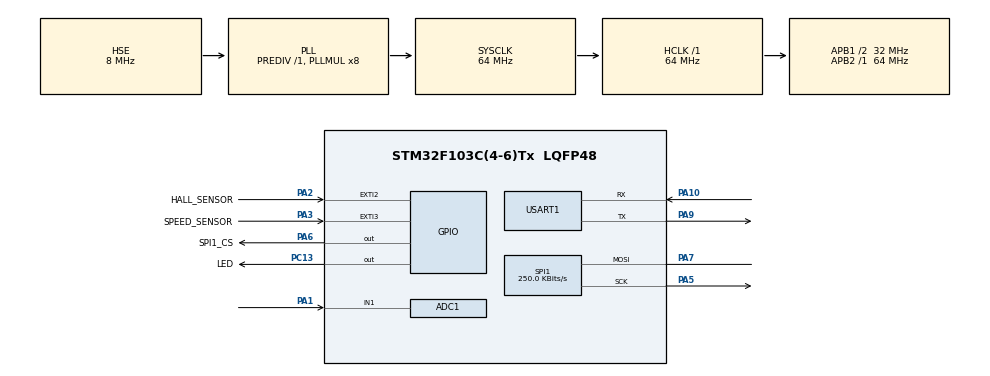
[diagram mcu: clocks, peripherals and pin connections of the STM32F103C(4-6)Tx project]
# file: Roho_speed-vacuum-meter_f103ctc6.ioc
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ADC1.Channel-0\#ChannelRegularConversion=ADC_CHANNEL_1
ADC1.NbrOfConversionFlag=1
ADC1.Rank-0\#ChannelRegularConversion=1
ADC1.SamplingTime-0\#ChannelRegularConversion=ADC_SAMPLETIME_1CYCLE_5
ADC1.master=1
Mcu.Family=STM32F1
Mcu.Name=STM32F103C(4-6)Tx
Mcu.Package=LQFP48
NVIC.EXTI2_IRQn=true\:0\:0\:false\:false\:true\:true\:true\:true
NVIC.EXTI3_IRQn=true\:0\:0\:false\:false\:true\:true\:true\:true
NVIC.PriorityGroup=NVIC_PRIORITYGROUP_4
NVIC.TIM3_IRQn=true\:0\:0\:false\:false\:true\:true\:true\:true
PA1.Signal=ADCx_IN1
PA10.Mode=Asynchronous
PA10.Signal=USART1_RX
PA13.Mode=Serial_Wire
PA13.Signal=SYS_JTMS-SWDIO
PA14.Mode=Serial_Wire
PA14.Signal=SYS_JTCK-SWCLK
PA2.GPIO_Label=HALL_SENSOR
PA2.GPIO_ModeDefaultEXTI=GPIO_MODE_IT_FALLING
PA2.GPIO_PuPd=GPIO_PULLUP
PA2.Signal=GPXTI2
PA3.GPIO_Label=SPEED_SENSOR
PA3.GPIO_ModeDefaultEXTI=GPIO_MODE_IT_FALLING
PA3.GPIO_PuPd=GPIO_PULLUP
PA3.Signal=GPXTI3
PA5.Mode=Simplex_Bidirectional_Master
PA5.Signal=SPI1_SCK
PA6.GPIO_Label=SPI1_CS
PA6.Signal=GPIO_Output
PA7.Mode=Simplex_Bidirectional_Master
PA7.Signal=SPI1_MOSI
PA9.Mode=Asynchronous
PA9.Signal=USART1_TX
PC13-TAMPER-RTC.GPIO_Label=LED
PC13-TAMPER-RTC.Signal=GPIO_Output
PD0-OSC_IN.Mode=HSE-External-Oscillator
PD0-OSC_IN.Signal=RCC_OSC_IN
PD1-OSC_OUT.Mode=HSE-External-Oscillator
PD1-OSC_OUT.Signal=RCC_OSC_OUT
ProjectManager.HeapSize=0x200
ProjectManager.StackSize=0x400
ProjectManager.TargetToolchain=STM32CubeIDE
RCC.ADCPresc=RCC_ADCPCLK2_DIV6
RCC.AHBFreq_Value=64000000
RCC.APB1CLKDivider=RCC_HCLK_DIV2
RCC.APB1Freq_Value=32000000
RCC.APB1TimFreq_Value=64000000
RCC.APB2Freq_Value=64000000
RCC.APB2TimFreq_Value=64000000
RCC.HCLKFreq_Value=64000000
RCC.PLLMUL=RCC_PLL_MUL8
RCC.PLLSourceVirtual=RCC_PLLSOURCE_HSE
RCC.SYSCLKFreq_VALUE=64000000
RCC.SYSCLKSource=RCC_SYSCLKSOURCE_PLLCLK
RCC.USBFreq_Value=64000000
SH.ADCx_IN1.0=ADC1_IN1,IN1
SPI1.BaudRatePrescaler=SPI_BAUDRATEPRESCALER_256
SPI1.CalculateBaudRate=250.0 KBits/s
SPI1.Direction=SPI_DIRECTION_1LINE
SPI1.Mode=SPI_MODE_MASTER
SPI1.VirtualType=VM_MASTER
TIM3.Period=1000-1
TIM3.Prescaler=64000-1
USART1.VirtualMode=VM_ASYNC
VP_TIM3_VS_ClockSourceINT.Mode=Internal
board=custom

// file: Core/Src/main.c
/* USER CODE BEGIN Header */
/**
  ******************************************************************************
  * @file           : main.c
  * @brief          : Main program body
  ******************************************************************************
  * @attention
  *
  * Copyright (c) 2022 STMicroelectronics.
  * All rights reserved.
  *
  * This software is licensed under terms that can be found in the LICENSE file
  * in the root directory of this software component.
  * If no LICENSE file comes with this software, it is provided AS-IS.
  *
  ******************************************************************************
  */
/* USER CODE END Header */
#include "main.h"
#include "adc.h"
#include "spi.h"
#include "tim.h"
#include "usart.h"
#include "gpio.h"

/* USER CODE BEGIN Includes */

	#include <stdio.h>
	#include <string.h>

	#include "adc_light_stm32f103_hal_sm.h"
	#include "max7219_digit.h"
	#include "Roho_speed_vacuum_local_config.h"

/* USER CODE END Includes */

/* USER CODE BEGIN PV */

	uint8_t		time_to_update_flag	= 0 ;
	uint32_t	taho_cnt_u32		= 0 ;
	uint32_t	speed_cnt_u32		= 0 ;
	int 		counter_i 			= 0 ;

/* USER CODE END PV */

void SystemClock_Config(void);

int main(void)
{

  /* MCU Configuration--------------------------------------------------------*/

  /* Reset of all peripherals, Initializes the Flash interface and the Systick. */
  HAL_Init();

  /* Configure the system clock */
  SystemClock_Config();

  /* Initialize all configured peripherals */
  MX_GPIO_Init();
  MX_USART1_UART_Init();
  MX_TIM3_Init();
  MX_ADC1_Init();
  MX_SPI1_Init();
  /* USER CODE BEGIN 2 */

	char DataChar[0xFF];
	int soft_version_arr_int[3];
	soft_version_arr_int[0] = ((SOFT_VERSION) / 100)     ;
	soft_version_arr_int[1] = ((SOFT_VERSION) /  10) %10 ;
	soft_version_arr_int[2] = ((SOFT_VERSION)      ) %10 ;

	sprintf(DataChar,"\r\n\r\n ROHO speed and vacuum meter v%d.%d.%d \r\nUART1 for debug on speed 115200 \r\n",
			soft_version_arr_int[0] ,
			soft_version_arr_int[1] ,
			soft_version_arr_int[2] ) ;
	HAL_UART_Transmit(&huart1, (uint8_t *)DataChar, strlen(DataChar), 100);
	#define 	DATE_as_int_str 	(__DATE__)
	#define 	TIME_as_int_str 	(__TIME__)
	sprintf(DataChar,"Build: %s. Time: %s.\r\n" ,
			DATE_as_int_str ,
			TIME_as_int_str ) ;
	HAL_UART_Transmit( &huart1, (uint8_t *)DataChar , strlen(DataChar) , 100 ) ;

	max7219_struct h1_max7219 =
	{
		.spi		= &hspi1,
		.cs_port	= SPI1_CS_GPIO_Port,
		.cs_pin		= SPI1_CS_Pin
	};

	max7219_init4( &h1_max7219, WorkMode, DecodeForDigit_7_0, Intensity_13, DisplayDigit_0_7, NormalOperation);
	max7219_print_value4 ( &h1_max7219, 1011, 2022, 3033, 4044 );

	//HAL_TIM_Base_Start(&htim3);
	HAL_TIM_Base_Start_IT(&htim3);

  /* USER CODE END 2 */

  /* Infinite loop */
  /* USER CODE BEGIN WHILE */
  while (1)
  {
	if ( time_to_update_flag == 1 ) {
		counter_i++;
		uint32_t adc_u32 = ADC1_GetValue( ADC_HANDLER, ADC_CHANNEL_LOCAL );
		sprintf(DataChar,"%04d\t taho:%04d\t speed:%04d\t adc:%04d\r\n",
							counter_i,
							(int)taho_cnt_u32,
							(int)speed_cnt_u32,
							(int)adc_u32) ;
		HAL_UART_Transmit( &huart1, (uint8_t *)DataChar , strlen(DataChar) , 100 ) ;

		max7219_init4(	&h1_max7219			,
						WorkMode			,
						DecodeForDigit_7_0	,
						Intensity_13		,
						DisplayDigit_0_7	,
						NormalOperation		);

		max7219_print_value4 (	&h1_max7219		,
								4095-adc_u32	,
								speed_cnt_u32	,
								taho_cnt_u32	,
								counter_i 		);
		time_to_update_flag = 0;
	}
    /* USER CODE END WHILE */

  }
}

void SystemClock_Config(void)
{
  RCC_OscInitTypeDef RCC_OscInitStruct = {0};
  RCC_ClkInitTypeDef RCC_ClkInitStruct = {0};
  RCC_PeriphCLKInitTypeDef PeriphClkInit = {0};

  /** Initializes the RCC Oscillators according to the specified parameters
  * in the RCC_OscInitTypeDef structure.
  */
  RCC_OscInitStruct.OscillatorType = RCC_OSCILLATORTYPE_HSE;
  RCC_OscInitStruct.HSEState = RCC_HSE_ON;
  RCC_OscInitStruct.HSEPredivValue = RCC_HSE_PREDIV_DIV1;
  RCC_OscInitStruct.HSIState = RCC_HSI_ON;
  RCC_OscInitStruct.PLL.PLLState = RCC_PLL_ON;
  RCC_OscInitStruct.PLL.PLLSource = RCC_PLLSOURCE_HSE;
  RCC_OscInitStruct.PLL.PLLMUL = RCC_PLL_MUL8;
  if (HAL_RCC_OscConfig(&RCC_OscInitStruct) != HAL_OK)
  {
    Error_Handler();
  }

  /** Initializes the CPU, AHB and APB buses clocks
  */
  RCC_ClkInitStruct.ClockType = RCC_CLOCKTYPE_HCLK|RCC_CLOCKTYPE_SYSCLK
                              |RCC_CLOCKTYPE_PCLK1|RCC_CLOCKTYPE_PCLK2;
  RCC_ClkInitStruct.SYSCLKSource = RCC_SYSCLKSOURCE_PLLCLK;
  RCC_ClkInitStruct.AHBCLKDivider = RCC_SYSCLK_DIV1;
  RCC_ClkInitStruct.APB1CLKDivider = RCC_HCLK_DIV2;
  RCC_ClkInitStruct.APB2CLKDivider = RCC_HCLK_DIV1;

  if (HAL_RCC_ClockConfig(&RCC_ClkInitStruct, FLASH_LATENCY_2) != HAL_OK)
  {
    Error_Handler();
  }
  PeriphClkInit.PeriphClockSelection = RCC_PERIPHCLK_ADC;
  PeriphClkInit.AdcClockSelection = RCC_ADCPCLK2_DIV6;
  if (HAL_RCCEx_PeriphCLKConfig(&PeriphClkInit) != HAL_OK)
  {
    Error_Handler();
  }
}

void Error_Handler(void)
{
  __disable_irq();
  while (1)
  {
  }
}
